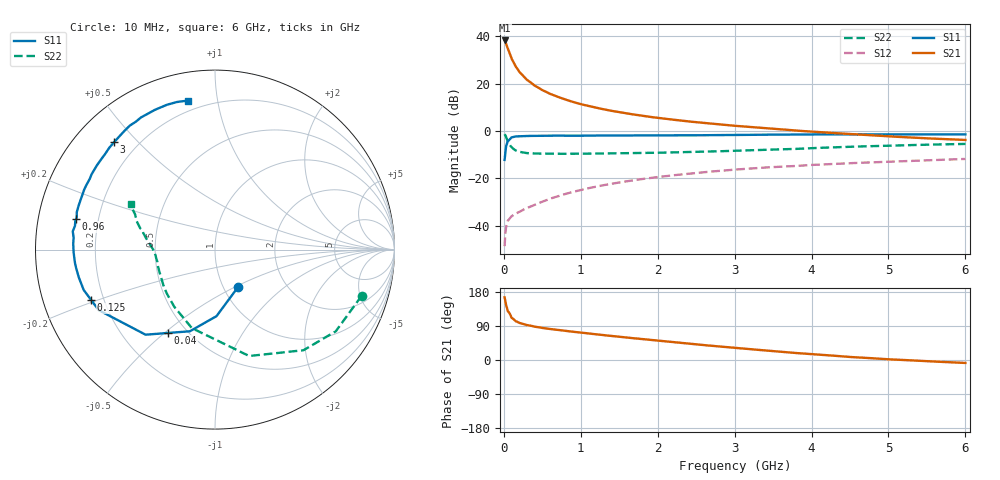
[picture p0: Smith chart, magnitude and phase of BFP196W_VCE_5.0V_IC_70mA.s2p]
! Infineon Technologies  Discrete & RF Semiconductors
! BFP196W
! VCE = 5.0 V,  IC =  70mA
! Common Emitter S-Parameters:  Jan 2016
# GHz  S  MA  R  50
!  f  S11  S21  S12  S22
! GHz  MAG  ANG  MAG  ANG  MAG  ANG  MAG  ANG
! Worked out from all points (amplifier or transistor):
!   210 points, 10 MHz to 6 GHz, reference 50 ohm
!   highest |S21| = 38.2 dB at 10 MHz (marker M1)
!   |S21| within 3 dB of that: start of sweep to 46.67 MHz
!   unconditionally stable (mu >= 1): 538.3 MHz to 3.466 GHz; 3.778 GHz to 3.808 GHz
!   at 185 MHz: K = 0.63, MSG = 30.1 dB, |S12| = -34.4 dB
!   at 1.52 GHz: K = 1.10, MAG = 12.8 dB, |S12| = -21.6 dB
!   at 6 GHz: K = 0.97, MSG = 4.0 dB, |S12| = -11.8 dB
!   S11 on the Smith chart (normalised r, x): 10 MHz: 1.17, -0.52; 40 MHz: 0.39, -0.51; 125 MHz: 0.15, -0.19; 960 MHz: 0.12, +0.11; 3 GHz: 0.12, +0.43; 6 GHz: 0.14, +0.82
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0.01  0.2445 -58.1  81.1 165.4  0.0037 76.0  0.8567 -17.5
0.02  0.3709 -88.7  77.01 154.6  0.007 66.2  0.8124 -34.1
0.03  0.4761 -107.1  69.79 144.6  0.0095 61.0  0.7465 -48.7
0.04  0.534 -119.5  62.02 138.0  0.011 54.4  0.6703 -59.4
0.05  0.6118 -129.2  55.3 129.6  0.0126 49.5  0.6225 -72.2
0.1  0.7305 -152.5  33.55 111.5  0.0158 41.6  0.4561 -106.4
0.125  0.7448 -157.8  28.39 107.9  0.0168 41.2  0.4177 -115.2
0.15  0.7653 -162.9  23.39 102.7  0.0179 40.9  0.391 -125.5
0.2  0.7743 -168.4  17.76 98.1  0.0195 45.1  0.3639 -137.2
0.26  0.7806 -172.5  13.91 94.2  0.022 47.1  0.3488 -145.7
0.3  0.7838 -174.7  11.97 92.2  0.0235 48.9  0.3406 -150.3
0.4  0.788 -179.0  9.048 88.0  0.0275 54.1  0.3342 -157.3
0.6  0.7905 175.2  6.071 81.8  0.0371 59.7  0.33 -165.5
0.96  0.7922 167.5  3.832 73.3  0.0546 62.9  0.3312 -171.9
1.02  0.7924 166.4  3.608 72.0  0.0576 63.1  0.3316 -172.6
1.4  0.799 159.4  2.656 63.4  0.0767 62.5  0.3362 -176.2
2.02  0.8054 148.7  1.871 50.8  0.1072 58.7  0.3466 179.4
3  0.8213 133.2  1.285 32.2  0.1525 50.2  0.3815 171.9
3.1  0.8233 131.7  1.248 30.5  0.1567 49.2  0.3859 171.1
4.1  0.8439 118.1  0.946 14.1  0.1948 40.4  0.4394 163.2
5.1  0.8496 107.6  0.754 1.0  0.2273 32.2  0.4918 155.7
6  0.844 100.4  0.645 -7.8  0.2563 25.9  0.5319 151.5
